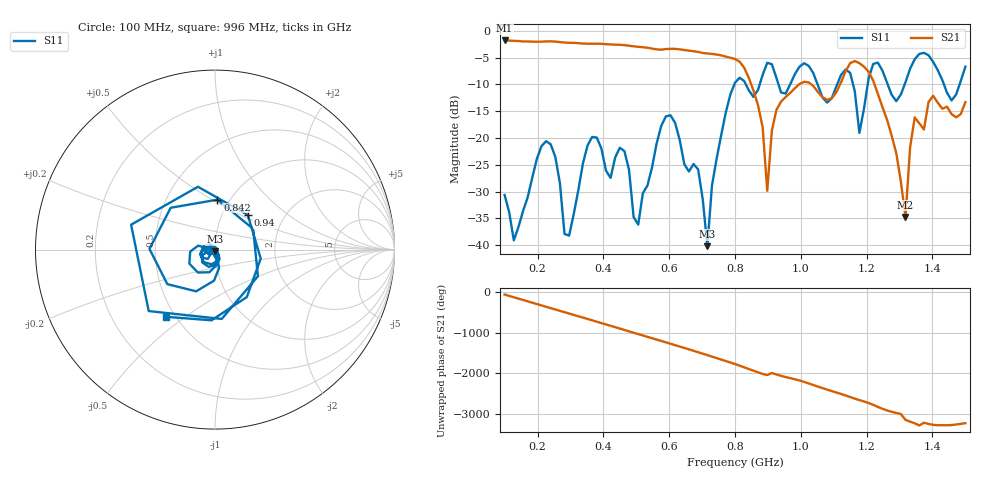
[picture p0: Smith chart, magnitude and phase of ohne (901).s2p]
! NanoVNA-App
! Date: 2025-09-25 14:27:49
! Start: 100MHz Stop: 1,5GHz Points: 101
! S-Parameter data: F S11 S21 S12 S22
# Hz S RI R 50
!  Frequency  S11_Real  S11_Imag  S21_Real  S21_Imag  S12_Real  S12_Imag  S22_Real  S22_Imag
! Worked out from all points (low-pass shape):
!   101 points, 100 MHz to 1.5 GHz, reference 50 ohm
!   highest |S21| = -1.79 dB at 100 MHz (marker M1); lowest = -34.8 dB at 1.318 GHz (marker M2)
!   |S21| within 3 dB of the highest: start of sweep to 771 MHz
!   lowest |S11| = -40.2 dB at 716 MHz (marker M3), VSWR 1.02, Z = 49.8 - j0.958 ohm
!   |S11| at or under -10 dB: start of sweep to 798 MHz; 833 MHz to 875.1 MHz (42.04 MHz wide, 4.92 % of centre); 1.051 GHz to 1.11 GHz (59.47 MHz wide, 5.5 % of centre) (the widest 3 of 7)
!   S12 and S22 are empty: the file has one direction only
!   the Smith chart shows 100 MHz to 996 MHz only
!   S11 on the Smith chart (normalised r, x): 100 MHz: 0.94, -0.01; 842 MHz: 0.88, +0.53; 940 MHz: 1.32, +0.55; 996 MHz: 0.45, -0.43
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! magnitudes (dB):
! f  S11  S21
! 100 MHz  -30.6  -1.8
! 128 MHz  -39.1  -1.9
! 226 MHz  -20.6  -2.0
! 296 MHz  -38.2  -2.2
! 338 MHz  -24.7  -2.4
! 464 MHz  -22.4  -2.7
! 506 MHz  -36.2  -3.0
! 576 MHz  -17.7  -3.5
! 688 MHz  -25.9  -3.9
! 716 MHz  -40.2  -4.2
! 800 MHz  -9.7  -5.3
! 842 MHz  -11.1  -8.8
! 898 MHz  -6.0  -29.8
! 940 MHz  -11.5  -13.2
! 996 MHz  -6.7  -9.9
! 1.038 GHz  -7.9  -10.3
! 1.178 GHz  -19.1  -6.0
! 1.22 GHz  -6.2  -9.3
! 1.276 GHz  -11.9  -19.6
! 1.318 GHz  -9.6  -34.8
! 1.346 GHz  -5.3  -16.2
! 1.5 GHz  -6.7  -13.3
